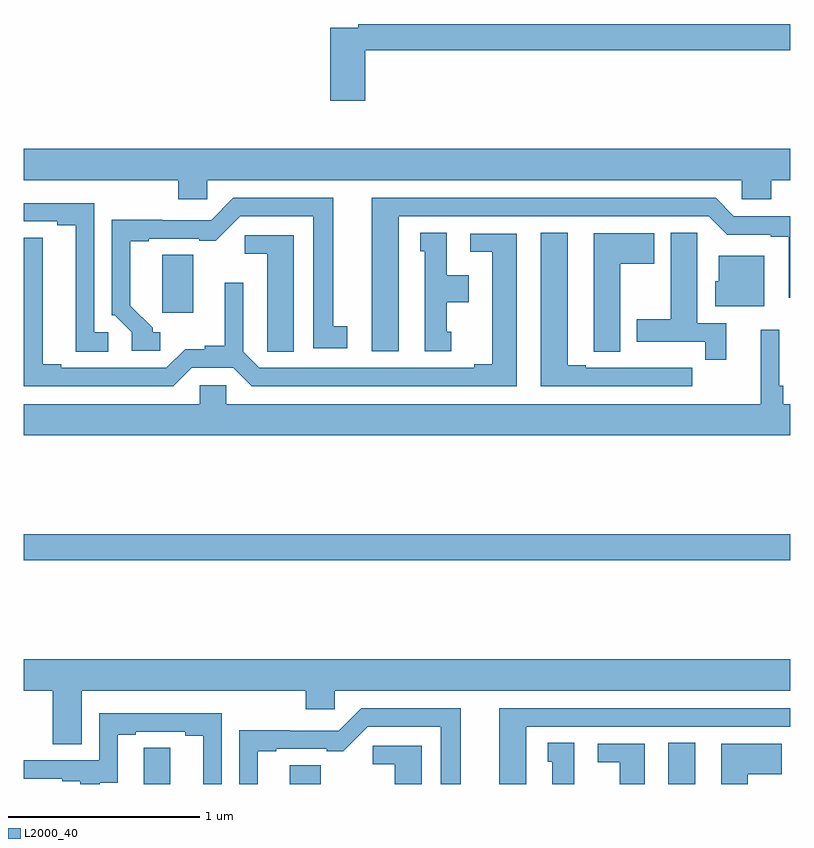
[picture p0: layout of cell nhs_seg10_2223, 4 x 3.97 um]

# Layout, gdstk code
import gdstk
lib = gdstk.Library(unit=1e-6, precision=1e-09)
def R(c, l, rs):  # rectangles x0, y0, x1, y1
    for r in rs: c.add(gdstk.rectangle(r[:2], r[2:], *l))
def P(c, l, *ps):  # polygons
    for p in ps: c.add(gdstk.Polygon(p, *l))
L2000_40 = (2000, 40)

nhs_seg10_2223 = lib.new_cell('nhs_seg10_2223')
R(nhs_seg10_2223, L2000_40, [(230.387,1294.5,230.55,1294.598), (232.364,1294.5,232.504,1294.715), (229,1295.668,233,1295.804)])
P(nhs_seg10_2223, L2000_40, [(230.783,1298.332),(233,1298.332),(233,1298.468),(230.746,1298.468),(230.746,1298.448),(230.6,1298.448),(230.6,1298.067),(230.783,1298.067)],
  [(229.956,1297.652),(232.749,1297.652),(232.749,1297.554),(232.901,1297.554),(232.901,1297.652),(233,1297.652),(233,1297.816),(229,1297.816),(229,1297.652),(229.805,1297.652),(229.805,1297.554),(229.956,1297.554)],
  [(229.711,1296.858),(229.672,1296.858),(229.672,1296.882),(229.555,1296.998),(229.555,1297.335),(229.651,1297.335),(229.651,1297.347),(229.916,1297.347),(229.916,1297.336),(230.002,1297.336),(230.13,1297.464),(230.51,1297.464),(230.51,1296.774),(230.689,1296.774),(230.689,1296.89),(230.614,1296.89),(230.614,1297.56),(230.094,1297.56),(229.977,1297.443),(229.721,1297.443),(229.721,1297.445),(229.458,1297.445),(229.458,1296.948),(229.473,1296.948),(229.563,1296.858),(229.563,1296.762),(229.711,1296.762)],
  [(230.956,1297.464),(232.575,1297.464),(232.671,1297.368),(232.898,1297.368),(232.898,1297.356),(232.994,1297.356),(232.994,1297.04),(233,1297.04),(233,1297.464),(232.707,1297.464),(232.611,1297.56),(230.816,1297.56),(230.816,1296.759),(230.956,1296.759)],
  [(229.441,1296.858),(229.368,1296.858),(229.368,1297.533),(229,1297.533),(229,1297.437),(229.175,1297.437),(229.175,1297.417),(229.271,1297.417),(229.271,1296.757),(229.441,1296.757)],
  [(232.489,1296.672),(232.376,1296.672),(232.376,1296.673),(232.21,1296.673),(232.21,1296.672),(231.934,1296.672),(231.934,1296.687),(231.838,1296.687),(231.838,1297.379),(231.698,1297.379),(231.698,1296.576),(232.489,1296.576)],
  [(231.232,1296.861),(231.208,1296.861),(231.208,1297.016),(231.322,1297.016),(231.322,1297.156),(231.208,1297.156),(231.208,1297.379),(231.068,1297.379),(231.068,1297.281),(231.092,1297.281),(231.092,1296.759),(231.232,1296.759)],
  [(232.667,1296.906),(232.516,1296.906),(232.516,1297.268),(232.515,1297.268),(232.515,1297.379),(232.376,1297.379),(232.376,1296.927),(232.199,1296.927),(232.199,1296.81),(232.558,1296.81),(232.558,1296.714),(232.667,1296.714)],
  [(232.114,1297.216),(232.291,1297.216),(232.291,1297.375),(231.974,1297.375),(231.974,1296.865),(231.975,1296.865),(231.975,1296.757),(232.114,1296.757)],
  [(229.875,1296.672),(230.093,1296.672),(230.189,1296.576),(231.574,1296.576),(231.574,1297.374),(231.33,1297.374),(231.33,1297.278),(231.446,1297.278),(231.446,1296.692),(231.35,1296.692),(231.35,1296.672),(230.229,1296.672),(230.145,1296.756),(230.145,1297.117),(230.048,1297.117),(230.048,1296.788),(229.944,1296.788),(229.944,1296.77),(229.841,1296.77),(229.743,1296.672),(229.195,1296.672),(229.195,1296.692),(229.099,1296.692),(229.099,1297.352),(229,1297.352),(229,1296.576),(229.779,1296.576)],
  [(230.41,1297.365),(230.154,1297.365),(230.154,1297.268),(230.27,1297.268),(230.27,1296.865),(230.271,1296.865),(230.271,1296.757),(230.41,1296.757)],
  [(229.885,1297.104),(229.884,1297.104),(229.884,1297.262),(229.721,1297.262),(229.721,1296.96),(229.885,1296.96)],
  [(232.864,1297.258),(232.628,1297.258),(232.628,1297.125),(232.61,1297.125),(232.61,1296.995),(232.864,1296.995)],
  [(233,1296.484),(232.964,1296.484),(232.964,1296.58),(232.944,1296.58),(232.944,1296.871),(232.847,1296.871),(232.847,1296.484),(230.055,1296.484),(230.055,1296.582),(229.917,1296.582),(229.917,1296.484),(229,1296.484),(229,1296.32),(233,1296.32)],
  [(229.303,1294.988),(230.471,1294.988),(230.471,1294.89),(230.622,1294.89),(230.622,1294.988),(233,1294.988),(233,1295.152),(229,1295.152),(229,1294.988),(229.151,1294.988),(229.151,1294.708),(229.303,1294.708)],
  [(230.221,1294.671),(230.317,1294.671),(230.317,1294.683),(230.582,1294.683),(230.582,1294.672),(230.668,1294.672),(230.796,1294.8),(231.176,1294.8),(231.176,1294.5),(231.28,1294.5),(231.28,1294.896),(230.76,1294.896),(230.643,1294.779),(230.387,1294.779),(230.387,1294.781),(230.124,1294.781),(230.124,1294.5),(230.221,1294.5)],
  [(231.622,1294.8),(233,1294.8),(233,1294.896),(231.482,1294.896),(231.482,1294.5),(231.622,1294.5)],
  [(229.395,1294.507),(229.489,1294.507),(229.489,1294.758),(229.585,1294.758),(229.585,1294.773),(229.841,1294.773),(229.841,1294.753),(229.937,1294.753),(229.937,1294.5),(230.034,1294.5),(230.034,1294.869),(229.392,1294.869),(229.392,1294.623),(229,1294.623),(229,1294.527),(229.199,1294.527),(229.199,1294.515),(229.295,1294.515),(229.295,1294.5),(229.395,1294.5)],
  [(231.874,1294.715),(231.734,1294.715),(231.734,1294.617),(231.758,1294.617),(231.758,1294.5),(231.874,1294.5)],
  [(232.78,1294.552),(232.957,1294.552),(232.957,1294.711),(232.64,1294.711),(232.64,1294.5),(232.78,1294.5)],
  [(232.24,1294.71),(231.996,1294.71),(231.996,1294.614),(232.112,1294.614),(232.112,1294.5),(232.24,1294.5)],
  [(231.076,1294.701),(230.82,1294.701),(230.82,1294.604),(230.936,1294.604),(230.936,1294.5),(231.076,1294.5)],
  [(229.765,1294.688),(229.626,1294.688),(229.626,1294.58),(229.625,1294.58),(229.625,1294.5),(229.765,1294.5)])

lib.write_gds('nhs_seg10_2223.gds')
